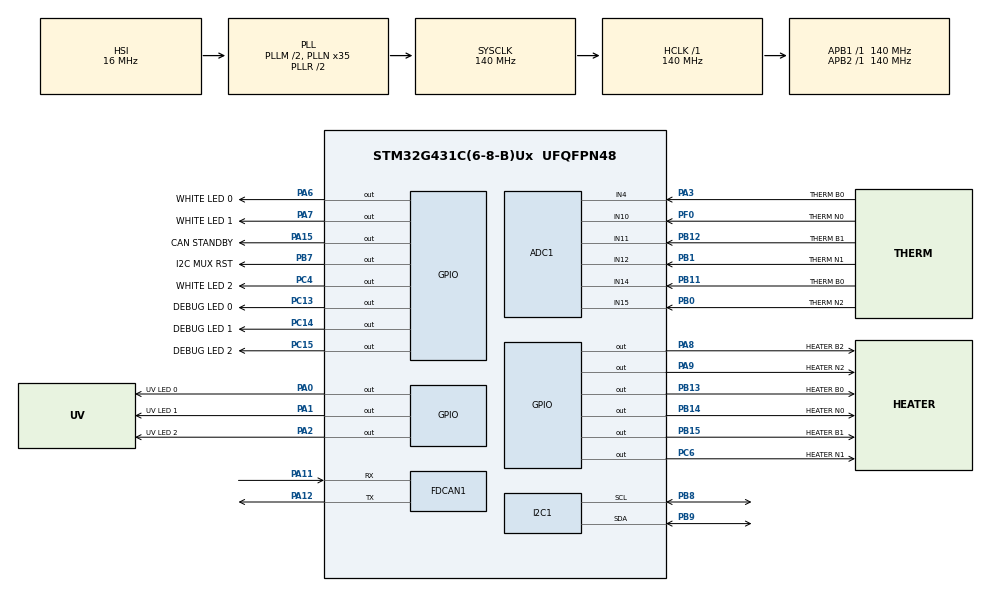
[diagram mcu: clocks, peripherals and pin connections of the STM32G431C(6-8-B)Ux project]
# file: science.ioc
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ADC1.Channel-0\#ChannelRegularConversion=ADC_CHANNEL_4
ADC1.Channel-1\#ChannelRegularConversion=ADC_CHANNEL_10
ADC1.Channel-2\#ChannelRegularConversion=ADC_CHANNEL_11
ADC1.Channel-3\#ChannelRegularConversion=ADC_CHANNEL_12
ADC1.Channel-4\#ChannelRegularConversion=ADC_CHANNEL_14
ADC1.Channel-5\#ChannelRegularConversion=ADC_CHANNEL_15
ADC1.DiscontinuousConvMode=DISABLE
ADC1.NbrOfConversion=6
ADC1.NbrOfConversionFlag=1
ADC1.OffsetNumber-0\#ChannelRegularConversion=ADC_OFFSET_NONE
ADC1.OffsetNumber-1\#ChannelRegularConversion=ADC_OFFSET_NONE
ADC1.OffsetNumber-2\#ChannelRegularConversion=ADC_OFFSET_NONE
ADC1.OffsetNumber-3\#ChannelRegularConversion=ADC_OFFSET_NONE
ADC1.OffsetNumber-4\#ChannelRegularConversion=ADC_OFFSET_NONE
ADC1.OffsetNumber-5\#ChannelRegularConversion=ADC_OFFSET_NONE
ADC1.Rank-0\#ChannelRegularConversion=1
ADC1.Rank-1\#ChannelRegularConversion=2
ADC1.Rank-2\#ChannelRegularConversion=3
ADC1.Rank-3\#ChannelRegularConversion=4
ADC1.Rank-4\#ChannelRegularConversion=5
ADC1.Rank-5\#ChannelRegularConversion=6
ADC1.SamplingTime-0\#ChannelRegularConversion=ADC_SAMPLETIME_92CYCLES_5
ADC1.SamplingTime-1\#ChannelRegularConversion=ADC_SAMPLETIME_92CYCLES_5
ADC1.SamplingTime-2\#ChannelRegularConversion=ADC_SAMPLETIME_92CYCLES_5
ADC1.SamplingTime-3\#ChannelRegularConversion=ADC_SAMPLETIME_92CYCLES_5
ADC1.SamplingTime-4\#ChannelRegularConversion=ADC_SAMPLETIME_92CYCLES_5
ADC1.SamplingTime-5\#ChannelRegularConversion=ADC_SAMPLETIME_92CYCLES_5
ADC1.master=1
Dma.ADC1.0.Direction=DMA_PERIPH_TO_MEMORY
Dma.ADC1.0.EventEnable=DISABLE
Dma.ADC1.0.Instance=DMA1_Channel1
Dma.ADC1.0.MemDataAlignment=DMA_MDATAALIGN_WORD
Dma.ADC1.0.MemInc=DMA_MINC_ENABLE
Dma.ADC1.0.Mode=DMA_CIRCULAR
Dma.ADC1.0.PeriphDataAlignment=DMA_PDATAALIGN_WORD
Dma.ADC1.0.PeriphInc=DMA_PINC_DISABLE
Dma.ADC1.0.Polarity=HAL_DMAMUX_REQ_GEN_RISING
Dma.ADC1.0.Priority=DMA_PRIORITY_LOW
Dma.ADC1.0.RequestNumber=1
Dma.ADC1.0.SignalID=NONE
Dma.ADC1.0.SyncEnable=DISABLE
Dma.ADC1.0.SyncPolarity=HAL_DMAMUX_SYNC_NO_EVENT
Dma.ADC1.0.SyncRequestNumber=1
Dma.ADC1.0.SyncSignalID=NONE
Dma.Request0=ADC1
FDCAN1.AutoRetransmission=ENABLE
FDCAN1.CalculateBaudRateNominal=1000000
FDCAN1.CalculateTimeBitNominal=1000
FDCAN1.CalculateTimeQuantumNominal=7.142857142857143
FDCAN1.DataPrescaler=5
FDCAN1.DataSyncJumpWidth=13
FDCAN1.DataTimeSeg1=14
FDCAN1.DataTimeSeg2=13
FDCAN1.ExtFiltersNbr=1
FDCAN1.FrameFormat=FDCAN_FRAME_FD_NO_BRS
FDCAN1.NominalPrescaler=1
FDCAN1.NominalSyncJumpWidth=19
FDCAN1.NominalTimeSeg1=120
FDCAN1.NominalTimeSeg2=19
FDCAN1.TransmitPause=ENABLE
FREERTOS.Tasks01=defaultTask,24,128,StartDefaultTask,Default,NULL,Dynamic,NULL,NULL
I2C1.Timing=0x20B0CCFF
Mcu.Family=STM32G4
Mcu.Name=STM32G431C(6-8-B)Ux
Mcu.Package=UFQFPN48
NVIC.DMA1_Channel1_IRQn=true\:5\:0\:false\:false\:true\:true\:false\:true\:true
NVIC.FDCAN1_IT0_IRQn=true\:5\:0\:false\:false\:true\:true\:true\:true\:true
NVIC.PriorityGroup=NVIC_PRIORITYGROUP_4
PA0.GPIO_Label=UV LED 0
PA0.Signal=GPIO_Output
PA1.GPIO_Label=UV LED 1
PA1.Signal=GPIO_Output
PA11.Mode=FDCAN_Activate
PA11.Signal=FDCAN1_RX
PA12.Mode=FDCAN_Activate
PA12.Signal=FDCAN1_TX
PA13.Mode=Serial_Wire
PA13.Signal=SYS_JTMS-SWDIO
PA14.Mode=Serial_Wire
PA14.Signal=SYS_JTCK-SWCLK
PA15.GPIO_Label=CAN STANDBY
PA15.Signal=GPIO_Output
PA2.GPIO_Label=UV LED 2
PA2.Signal=GPIO_Output
PA3.GPIO_Label=THERM B0
PA3.Mode=IN4-Single-Ended
PA3.Signal=ADC1_IN4
PA6.GPIO_Label=WHITE LED 0
PA6.Signal=GPIO_Output
PA7.GPIO_Label=WHITE LED 1
PA7.Signal=GPIO_Output
PA8.GPIO_Label=HEATER B2
PA8.Signal=GPIO_Output
PA9.GPIO_Label=HEATER N2
PA9.Signal=GPIO_Output
PB0.GPIO_Label=THERM N2
PB0.Mode=IN15-Single-Ended
PB0.Signal=ADC1_IN15
PB1.GPIO_Label=THERM N1
PB1.Mode=IN12-Single-Ended
PB1.Signal=ADC1_IN12
PB11.GPIO_Label=THERM B0
PB11.Mode=IN14-Single-Ended
PB11.Signal=ADC1_IN14
PB12.GPIO_Label=THERM B1
PB12.Mode=IN11-Single-Ended
PB12.Signal=ADC1_IN11
PB13.GPIO_Label=HEATER B0
PB13.Signal=GPIO_Output
PB14.GPIO_Label=HEATER N0
PB14.Signal=GPIO_Output
PB15.GPIO_Label=HEATER B1
PB15.Signal=GPIO_Output
PB7.GPIO_Label=I2C MUX RST
PB7.Signal=GPIO_Output
PB8-BOOT0.Mode=I2C
PB8-BOOT0.Signal=I2C1_SCL
PB9.Mode=I2C
PB9.Signal=I2C1_SDA
PC13.GPIO_Label=DEBUG LED 0
PC13.Signal=GPIO_Output
PC14-OSC32_IN.GPIO_Label=DEBUG LED 1
PC14-OSC32_IN.Signal=GPIO_Output
PC15-OSC32_OUT.GPIO_Label=DEBUG LED 2
PC15-OSC32_OUT.Signal=GPIO_Output
PC4.GPIO_Label=WHITE LED 2
PC4.Signal=GPIO_Output
PC6.GPIO_Label=HEATER N1
PC6.Signal=GPIO_Output
PF0-OSC_IN.GPIO_Label=THERM N0
PF0-OSC_IN.Mode=IN10-Single-Ended
PF0-OSC_IN.Signal=ADC1_IN10
ProjectManager.HeapSize=0x200
ProjectManager.StackSize=0x400
ProjectManager.TargetToolchain=STM32CubeIDE
RCC.ADC12Freq_Value=140000000
RCC.AHBFreq_Value=140000000
RCC.APB1Freq_Value=140000000
RCC.APB1TimFreq_Value=140000000
RCC.APB2Freq_Value=140000000
RCC.APB2TimFreq_Value=140000000
RCC.CortexFreq_Value=140000000
RCC.EXTERNAL_CLOCK_VALUE=12288000
RCC.HCLKFreq_Value=140000000
RCC.HSE_VALUE=8000000
RCC.HSI48_VALUE=48000000
RCC.HSI_VALUE=16000000
RCC.LSE_VALUE=32768
RCC.PLLM=RCC_PLLM_DIV2
RCC.PLLN=35
RCC.SYSCLKFreq_VALUE=140000000
RCC.SYSCLKSource=RCC_SYSCLKSOURCE_PLLCLK
RCC.USBFreq_Value=140000000
RCC.VCOOutputFreq_Value=280000000
VP_FREERTOS_VS_CMSIS_V2.Mode=CMSIS_V2
VP_SYS_VS_DBSignals.Mode=DisableDeadBatterySignals
VP_TIM16_VS_ClockSourceINT.Mode=Enable_Timer
board=custom

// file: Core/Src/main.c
/* USER CODE BEGIN Header */
/**
  ******************************************************************************
  * @file           : main.c
  * @brief          : Main program body
  ******************************************************************************
  * @attention
  *
  * Copyright (c) 2023 STMicroelectronics.
  * All rights reserved.
  *
  * This software is licensed under terms that can be found in the LICENSE file
  * in the root directory of this software component.
  * If no LICENSE file comes with this software, it is provided AS-IS.
  *
  ******************************************************************************
  */
#include "FreeRTOS.h"
/* USER CODE END Header */
#include "main.h"
#include "cmsis_os.h"

ADC_HandleTypeDef hadc1;
DMA_HandleTypeDef hdma_adc1;

FDCAN_HandleTypeDef hfdcan1;

I2C_HandleTypeDef hi2c1;

TIM_HandleTypeDef htim16;

/* Definitions for defaultTask */
osThreadId_t defaultTaskHandle;
const osThreadAttr_t defaultTask_attributes = {
  .name = "defaultTask",
  .priority = (osPriority_t) osPriorityNormal,
  .stack_size = 128 * 4
};
/* USER CODE BEGIN PV */

osThreadId_t SpectralTaskHandle;
const osThreadAttr_t SpectralTask_attributes = {
  .name = "SpectralTask",
  .priority = (osPriority_t) osPriorityNormal,
  .stack_size = 128 * 8
};

osThreadId_t ThermistorAndAutoShutoffTaskHandle;
const osThreadAttr_t ThermistorAndAutoShutoffTask_attributes = {
  .name = "ThermistorAndAutoShutoffTask",
  .priority = (osPriority_t) osPriorityNormal,
  .stack_size = 128 * 4
};

/* USER CODE END PV */

void SystemClock_Config(void);
static void MX_GPIO_Init(void);
static void MX_DMA_Init(void);
static void MX_FDCAN1_Init(void);
static void MX_I2C1_Init(void);
static void MX_ADC1_Init(void);
static void MX_TIM16_Init(void);
void StartDefaultTask(void *argument);

/* USER CODE BEGIN PFP */
void SpectralTask(void *argument);
void ThermistorAndAutoShutoffTask(void *argument);

/* USER CODE END PFP */

int main(void)
{

  /* MCU Configuration--------------------------------------------------------*/

  /* Reset of all peripherals, Initializes the Flash interface and the Systick. */
  HAL_Init();

  /* USER CODE BEGIN Init */
  // Use to ignore boot pin on startup
  if ((FLASH->OPTR & FLASH_OPTR_nSWBOOT0_Msk) != 0x0 || ((FLASH->OPTR & FLASH_OPTR_nBOOT0_Msk) == 0x0))
  {
  	while ((FLASH->SR & FLASH_SR_BSY_Msk) != 0x0) { ; }
  	FLASH->KEYR = 0x45670123;
  	while ((FLASH->SR & FLASH_SR_BSY_Msk) != 0x0) { ; }
  	FLASH->KEYR = 0xCDEF89AB;

  	while ((FLASH->SR & FLASH_SR_BSY_Msk) != 0x0) { ; }
  	FLASH->OPTKEYR = 0x08192A3B;
  	while ((FLASH->SR & FLASH_SR_BSY_Msk) != 0x0) { ; }
  	FLASH->OPTKEYR = 0x4C5D6E7F;

  	while ((FLASH->SR & FLASH_SR_BSY_Msk) != 0x0) { ; }
  	FLASH->OPTR = (FLASH->OPTR & ~(FLASH_OPTR_nSWBOOT0_Msk)) | FLASH_OPTR_nBOOT0_Msk;

  	while ((FLASH->SR & FLASH_SR_BSY_Msk) != 0x0) { ; }
  	FLASH->CR = FLASH->CR | FLASH_CR_OPTSTRT;

  	while ((FLASH->SR & FLASH_SR_BSY_Msk) != 0x0) { ; }
  }
  /* USER CODE END Init */

  /* Configure the system clock */
  SystemClock_Config();

  /* USER CODE BEGIN SysInit */

  /* USER CODE BEGIN SysInit */
  // TODO(quintin)  Figure out why the HAL does not configure this properly
  //                See: https://community.st.com/t5/stm32-mcus-products/hal-delay-stuck-systick-not-triggered-workaround-for-stm32f105/td-p/585510
  //                Without this HAL_Delay does not work (SysTick_Handler is never called)
#ifdef VECT_TAB_SRAM
  SCB->VTOR = SRAM_BASE;
#else
  SCB->VTOR = FLASH_BASE;
#endif

  /* USER CODE END SysInit */

  /* Initialize all configured peripherals */
  MX_GPIO_Init();
  MX_DMA_Init();
  MX_FDCAN1_Init();
  MX_I2C1_Init();
  MX_ADC1_Init();
  MX_TIM16_Init();
  /* USER CODE BEGIN 2 */

  init();

  /* USER CODE END 2 */

  /* Init scheduler */
  osKernelInitialize();

  /* Create the thread(s) */
  /* creation of defaultTask */
  defaultTaskHandle = osThreadNew(StartDefaultTask, NULL, &defaultTask_attributes);

  /* USER CODE BEGIN RTOS_THREADS */

  SpectralTaskHandle = osThreadNew(SpectralTask, NULL, &SpectralTask_attributes);
  ThermistorAndAutoShutoffTaskHandle = osThreadNew(ThermistorAndAutoShutoffTask, NULL, &ThermistorAndAutoShutoffTask_attributes);

  /* add threads, ... */
  /* USER CODE END RTOS_THREADS */

  /* Start scheduler */
  osKernelStart();

  /* We should never get here as control is now taken by the scheduler */
  /* Infinite loop */
  while (1)
  {

  }
}

void SystemClock_Config(void)
{
  RCC_OscInitTypeDef RCC_OscInitStruct = {0};
  RCC_ClkInitTypeDef RCC_ClkInitStruct = {0};

  /** Configure the main internal regulator output voltage
  */
  HAL_PWREx_ControlVoltageScaling(PWR_REGULATOR_VOLTAGE_SCALE1);

  /** Initializes the RCC Oscillators according to the specified parameters
  * in the RCC_OscInitTypeDef structure.
  */
  RCC_OscInitStruct.OscillatorType = RCC_OSCILLATORTYPE_HSI;
  RCC_OscInitStruct.HSIState = RCC_HSI_ON;
  RCC_OscInitStruct.HSICalibrationValue = RCC_HSICALIBRATION_DEFAULT;
  RCC_OscInitStruct.PLL.PLLState = RCC_PLL_ON;
  RCC_OscInitStruct.PLL.PLLSource = RCC_PLLSOURCE_HSI;
  RCC_OscInitStruct.PLL.PLLM = RCC_PLLM_DIV2;
  RCC_OscInitStruct.PLL.PLLN = 35;
  RCC_OscInitStruct.PLL.PLLP = RCC_PLLP_DIV2;
  RCC_OscInitStruct.PLL.PLLQ = RCC_PLLQ_DIV2;
  RCC_OscInitStruct.PLL.PLLR = RCC_PLLR_DIV2;
  if (HAL_RCC_OscConfig(&RCC_OscInitStruct) != HAL_OK)
  {
    Error_Handler();
  }

  /** Initializes the CPU, AHB and APB buses clocks
  */
  RCC_ClkInitStruct.ClockType = RCC_CLOCKTYPE_HCLK|RCC_CLOCKTYPE_SYSCLK
                              |RCC_CLOCKTYPE_PCLK1|RCC_CLOCKTYPE_PCLK2;
  RCC_ClkInitStruct.SYSCLKSource = RCC_SYSCLKSOURCE_PLLCLK;
  RCC_ClkInitStruct.AHBCLKDivider = RCC_SYSCLK_DIV1;
  RCC_ClkInitStruct.APB1CLKDivider = RCC_HCLK_DIV1;
  RCC_ClkInitStruct.APB2CLKDivider = RCC_HCLK_DIV1;

  if (HAL_RCC_ClockConfig(&RCC_ClkInitStruct, FLASH_LATENCY_4) != HAL_OK)
  {
    Error_Handler();
  }
}

static void MX_ADC1_Init(void)
{

  ADC_MultiModeTypeDef multimode = {0};
  ADC_ChannelConfTypeDef sConfig = {0};

  /** Common config
  */
  hadc1.Instance = ADC1;
  hadc1.Init.ClockPrescaler = ADC_CLOCK_SYNC_PCLK_DIV4;
  hadc1.Init.Resolution = ADC_RESOLUTION_12B;
  hadc1.Init.DataAlign = ADC_DATAALIGN_RIGHT;
  hadc1.Init.GainCompensation = 0;
  hadc1.Init.ScanConvMode = ADC_SCAN_ENABLE;
  hadc1.Init.EOCSelection = ADC_EOC_SINGLE_CONV;
  hadc1.Init.LowPowerAutoWait = DISABLE;
  hadc1.Init.ContinuousConvMode = DISABLE;
  hadc1.Init.NbrOfConversion = 6;
  hadc1.Init.DiscontinuousConvMode = DISABLE;
  hadc1.Init.ExternalTrigConv = ADC_SOFTWARE_START;
  hadc1.Init.ExternalTrigConvEdge = ADC_EXTERNALTRIGCONVEDGE_NONE;
  hadc1.Init.DMAContinuousRequests = DISABLE;
  hadc1.Init.Overrun = ADC_OVR_DATA_PRESERVED;
  hadc1.Init.OversamplingMode = DISABLE;
  if (HAL_ADC_Init(&hadc1) != HAL_OK)
  {
    Error_Handler();
  }

  /** Configure the ADC multi-mode
  */
  multimode.Mode = ADC_MODE_INDEPENDENT;
  if (HAL_ADCEx_MultiModeConfigChannel(&hadc1, &multimode) != HAL_OK)
  {
    Error_Handler();
  }

  /** Configure Regular Channel
  */
  sConfig.Channel = ADC_CHANNEL_4;
  sConfig.Rank = ADC_REGULAR_RANK_1;
  sConfig.SamplingTime = ADC_SAMPLETIME_92CYCLES_5;
  sConfig.SingleDiff = ADC_SINGLE_ENDED;
  sConfig.OffsetNumber = ADC_OFFSET_NONE;
  sConfig.Offset = 0;
  if (HAL_ADC_ConfigChannel(&hadc1, &sConfig) != HAL_OK)
  {
    Error_Handler();
  }

  /** Configure Regular Channel
  */
  sConfig.Channel = ADC_CHANNEL_10;
  sConfig.Rank = ADC_REGULAR_RANK_2;
  if (HAL_ADC_ConfigChannel(&hadc1, &sConfig) != HAL_OK)
  {
    Error_Handler();
  }

  /** Configure Regular Channel
  */
  sConfig.Channel = ADC_CHANNEL_11;
  sConfig.Rank = ADC_REGULAR_RANK_3;
  if (HAL_ADC_ConfigChannel(&hadc1, &sConfig) != HAL_OK)
  {
    Error_Handler();
  }

  /** Configure Regular Channel
  */
  sConfig.Channel = ADC_CHANNEL_12;
  sConfig.Rank = ADC_REGULAR_RANK_4;
  if (HAL_ADC_ConfigChannel(&hadc1, &sConfig) != HAL_OK)
  {
    Error_Handler();
  }

  /** Configure Regular Channel
  */
  sConfig.Channel = ADC_CHANNEL_14;
  sConfig.Rank = ADC_REGULAR_RANK_5;
  if (HAL_ADC_ConfigChannel(&hadc1, &sConfig) != HAL_OK)
  {
    Error_Handler();
  }

  /** Configure Regular Channel
  */
  sConfig.Channel = ADC_CHANNEL_15;
  sConfig.Rank = ADC_REGULAR_RANK_6;
  if (HAL_ADC_ConfigChannel(&hadc1, &sConfig) != HAL_OK)
  {
    Error_Handler();
  }

}

static void MX_FDCAN1_Init(void)
{

  hfdcan1.Instance = FDCAN1;
  hfdcan1.Init.ClockDivider = FDCAN_CLOCK_DIV1;
  hfdcan1.Init.FrameFormat = FDCAN_FRAME_FD_NO_BRS;
  hfdcan1.Init.Mode = FDCAN_MODE_NORMAL;
  hfdcan1.Init.AutoRetransmission = ENABLE;
  hfdcan1.Init.TransmitPause = ENABLE;
  hfdcan1.Init.ProtocolException = DISABLE;
  hfdcan1.Init.NominalPrescaler = 1;
  hfdcan1.Init.NominalSyncJumpWidth = 19;
  hfdcan1.Init.NominalTimeSeg1 = 120;
  hfdcan1.Init.NominalTimeSeg2 = 19;
  hfdcan1.Init.DataPrescaler = 5;
  hfdcan1.Init.DataSyncJumpWidth = 13;
  hfdcan1.Init.DataTimeSeg1 = 14;
  hfdcan1.Init.DataTimeSeg2 = 13;
  hfdcan1.Init.StdFiltersNbr = 0;
  hfdcan1.Init.ExtFiltersNbr = 1;
  hfdcan1.Init.TxFifoQueueMode = FDCAN_TX_FIFO_OPERATION;
  if (HAL_FDCAN_Init(&hfdcan1) != HAL_OK)
  {
    Error_Handler();
  }

}

static void MX_I2C1_Init(void)
{

  hi2c1.Instance = I2C1;
  hi2c1.Init.Timing = 0x20B0CCFF;
  hi2c1.Init.OwnAddress1 = 0;
  hi2c1.Init.AddressingMode = I2C_ADDRESSINGMODE_7BIT;
  hi2c1.Init.DualAddressMode = I2C_DUALADDRESS_DISABLE;
  hi2c1.Init.OwnAddress2 = 0;
  hi2c1.Init.OwnAddress2Masks = I2C_OA2_NOMASK;
  hi2c1.Init.GeneralCallMode = I2C_GENERALCALL_DISABLE;
  hi2c1.Init.NoStretchMode = I2C_NOSTRETCH_DISABLE;
  if (HAL_I2C_Init(&hi2c1) != HAL_OK)
  {
    Error_Handler();
  }

  /** Configure Analogue filter
  */
  if (HAL_I2CEx_ConfigAnalogFilter(&hi2c1, I2C_ANALOGFILTER_ENABLE) != HAL_OK)
  {
    Error_Handler();
  }

  /** Configure Digital filter
  */
  if (HAL_I2CEx_ConfigDigitalFilter(&hi2c1, 0) != HAL_OK)
  {
    Error_Handler();
  }

}

static void MX_TIM16_Init(void)
{

  htim16.Instance = TIM16;
  htim16.Init.Prescaler = 0;
  htim16.Init.CounterMode = TIM_COUNTERMODE_UP;
  htim16.Init.Period = 65535;
  htim16.Init.ClockDivision = TIM_CLOCKDIVISION_DIV1;
  htim16.Init.RepetitionCounter = 0;
  htim16.Init.AutoReloadPreload = TIM_AUTORELOAD_PRELOAD_DISABLE;
  if (HAL_TIM_Base_Init(&htim16) != HAL_OK)
  {
    Error_Handler();
  }

}

static void MX_DMA_Init(void)
{

  /* DMA controller clock enable */
  __HAL_RCC_DMAMUX1_CLK_ENABLE();
  __HAL_RCC_DMA1_CLK_ENABLE();

  /* DMA interrupt init */
  /* DMA1_Channel1_IRQn interrupt configuration */
  HAL_NVIC_SetPriority(DMA1_Channel1_IRQn, 5, 0);
  HAL_NVIC_EnableIRQ(DMA1_Channel1_IRQn);

}

static void MX_GPIO_Init(void)
{
  GPIO_InitTypeDef GPIO_InitStruct = {0};

  /* GPIO Ports Clock Enable */
  __HAL_RCC_GPIOC_CLK_ENABLE();
  __HAL_RCC_GPIOF_CLK_ENABLE();
  __HAL_RCC_GPIOA_CLK_ENABLE();
  __HAL_RCC_GPIOB_CLK_ENABLE();

  /*Configure GPIO pin Output Level */
  HAL_GPIO_WritePin(GPIOC, DEBUG_LED_0_Pin|DEBUG_LED_1_Pin|DEBUG_LED_2_Pin|WHITE_LED_2_Pin
                          |HEATER_N1_Pin, GPIO_PIN_RESET);

  /*Configure GPIO pin Output Level */
  HAL_GPIO_WritePin(GPIOA, UV_LED_0_Pin|UV_LED_1_Pin|UV_LED_2_Pin|WHITE_LED_0_Pin
                          |WHITE_LED_1_Pin|HEATER_B2_Pin|HEATER_N2_Pin|CAN_STANDBY_Pin, GPIO_PIN_RESET);

  /*Configure GPIO pin Output Level */
  HAL_GPIO_WritePin(GPIOB, HEATER_B0_Pin|HEATER_N0_Pin|HEATER_B1_Pin|I2C_MUX_RST_Pin, GPIO_PIN_RESET);

  /*Configure GPIO pins : DEBUG_LED_0_Pin DEBUG_LED_1_Pin DEBUG_LED_2_Pin WHITE_LED_2_Pin
                           HEATER_N1_Pin */
  GPIO_InitStruct.Pin = DEBUG_LED_0_Pin|DEBUG_LED_1_Pin|DEBUG_LED_2_Pin|WHITE_LED_2_Pin
                          |HEATER_N1_Pin;
  GPIO_InitStruct.Mode = GPIO_MODE_OUTPUT_PP;
  GPIO_InitStruct.Pull = GPIO_NOPULL;
  GPIO_InitStruct.Speed = GPIO_SPEED_FREQ_LOW;
  HAL_GPIO_Init(GPIOC, &GPIO_InitStruct);

  /*Configure GPIO pins : UV_LED_0_Pin UV_LED_1_Pin UV_LED_2_Pin WHITE_LED_0_Pin
                           WHITE_LED_1_Pin HEATER_B2_Pin HEATER_N2_Pin CAN_STANDBY_Pin */
  GPIO_InitStruct.Pin = UV_LED_0_Pin|UV_LED_1_Pin|UV_LED_2_Pin|WHITE_LED_0_Pin
                          |WHITE_LED_1_Pin|HEATER_B2_Pin|HEATER_N2_Pin|CAN_STANDBY_Pin;
  GPIO_InitStruct.Mode = GPIO_MODE_OUTPUT_PP;
  GPIO_InitStruct.Pull = GPIO_NOPULL;
  GPIO_InitStruct.Speed = GPIO_SPEED_FREQ_LOW;
  HAL_GPIO_Init(GPIOA, &GPIO_InitStruct);

  /*Configure GPIO pins : HEATER_B0_Pin HEATER_N0_Pin HEATER_B1_Pin I2C_MUX_RST_Pin */
  GPIO_InitStruct.Pin = HEATER_B0_Pin|HEATER_N0_Pin|HEATER_B1_Pin|I2C_MUX_RST_Pin;
  GPIO_InitStruct.Mode = GPIO_MODE_OUTPUT_PP;
  GPIO_InitStruct.Pull = GPIO_NOPULL;
  GPIO_InitStruct.Speed = GPIO_SPEED_FREQ_LOW;
  HAL_GPIO_Init(GPIOB, &GPIO_InitStruct);

}

/* USER CODE BEGIN 4 */

void SpectralTask(void *argument) {
	uint32_t tick = osKernelGetTickCount();

	for(;;) {
		tick = osKernelGetTickCount() + osKernelGetTickFreq(); // 1 Hz

		update_and_send_spectral();
		osDelayUntil(tick);
	}
}

void ThermistorAndAutoShutoffTask(void *argument) {
	uint32_t tick = osKernelGetTickCount();
	for(;;) {
		tick = osKernelGetTickCount() + osKernelGetTickFreq(); // 1 Hz

		update_and_send_heater();
		update_and_send_thermistor_and_auto_shutoff_if_applicable();
		osDelayUntil(tick);
	}
}

/* USER CODE END 4 */

void StartDefaultTask(void *argument)
{
  /* USER CODE BEGIN 5 */
  /* Infinite loop */
  for(;;)
  {
    osDelay(1000);
  }
  /* USER CODE END 5 */
}

void Error_Handler(void)
{
  __disable_irq();
  while (1)
  {
  }
}
